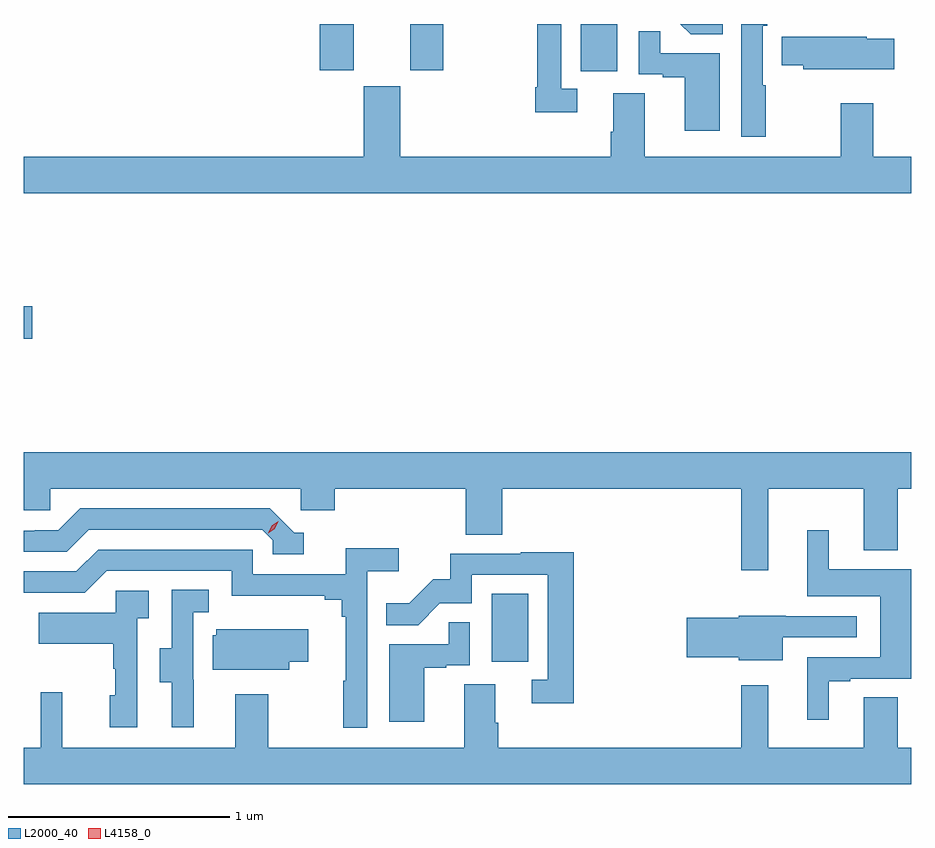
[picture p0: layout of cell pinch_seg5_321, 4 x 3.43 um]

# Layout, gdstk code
import gdstk
lib = gdstk.Library(unit=1e-6, precision=1e-09)
def R(c, l, rs):  # rectangles x0, y0, x1, y1
    for r in rs: c.add(gdstk.rectangle(r[:2], r[2:], *l))
def P(c, l, *ps):  # polygons
    for p in ps: c.add(gdstk.Polygon(p, *l))
L2000_40 = (2000, 40)
L4158_0 = (4158, 0)

pinch_seg5_321 = lib.new_cell('pinch_seg5_321')
R(pinch_seg5_321, L2000_40, [(935.924,886.614,936.088,886.921), (933.815,888.071,933.853,888.218), (936.326,889.278,936.49,889.49), (935.15,889.281,935.302,889.49), (935.558,889.281,935.706,889.49)])
P(pinch_seg5_321, L2000_40, [(936.965,889.49),(936.775,889.49),(936.821,889.444),(936.965,889.444)],
  [(936.31,889.197),(936.237,889.197),(936.237,889.49),(936.129,889.49),(936.129,889.204),(936.121,889.204),(936.121,889.092),(936.31,889.092)],
  [(937.159,889.214),(937.146,889.214),(937.146,889.481),(937.166,889.481),(937.166,889.49),(937.05,889.49),(937.05,888.981),(937.159,888.981)],
  [(936.952,889.359),(936.683,889.359),(936.683,889.457),(936.588,889.457),(936.588,889.263),(936.695,889.263),(936.695,889.251),(936.794,889.251),(936.794,889.008),(936.952,889.008)],
  [(937.739,889.423),(937.614,889.423),(937.614,889.432),(937.231,889.432),(937.231,889.303),(937.329,889.303),(937.329,889.286),(937.739,889.286)],
  [(937.815,888.892),(937.645,888.892),(937.645,889.132),(937.498,889.132),(937.498,888.892),(936.613,888.892),(936.613,889.178),(936.473,889.178),(936.473,889.004),(936.461,889.004),(936.461,888.892),(935.512,888.892),(935.512,889.209),(935.348,889.209),(935.348,888.892),(933.815,888.892),(933.815,888.728),(937.815,888.728)],
  [(937.171,887.396),(937.601,887.396),(937.601,887.117),(937.754,887.117),(937.754,887.396),(937.815,887.396),(937.815,887.56),(933.815,887.56),(933.815,887.298),(933.933,887.298),(933.933,887.396),(935.064,887.396),(935.064,887.298),(935.216,887.298),(935.216,887.396),(935.807,887.396),(935.807,887.188),(935.972,887.188),(935.972,887.396),(937.05,887.396),(937.05,887.028),(937.171,887.028)],
  [(935.077,887.196),(935.034,887.196),(934.923,887.307),(934.07,887.307),(933.971,887.208),(933.864,887.208),(933.864,887.205),(933.815,887.205),(933.815,887.112),(934.008,887.112),(934.107,887.211),(934.89,887.211),(934.938,887.163),(934.938,887.1),(935.077,887.1)],
  [(937.444,886.527),(937.54,886.527),(937.54,886.539),(937.815,886.539),(937.815,887.032),(937.444,887.032),(937.444,887.209),(937.346,887.209),(937.346,886.91),(937.676,886.91),(937.676,886.635),(937.346,886.635),(937.346,886.353),(937.444,886.353)],
  [(935.364,887.024),(935.506,887.024),(935.506,887.126),(935.267,887.126),(935.267,887.01),(934.848,887.01),(934.848,887.121),(934.151,887.121),(934.052,887.022),(933.815,887.022),(933.815,886.926),(934.089,886.926),(934.188,887.025),(934.752,887.025),(934.752,886.913),(935.171,886.913),(935.171,886.894),(935.248,886.894),(935.248,886.817),(935.267,886.817),(935.267,886.529),(935.256,886.529),(935.256,886.317),(935.364,886.317)],
  [(936.293,887.108),(936.055,887.108),(936.055,887.103),(935.737,887.103),(935.737,886.986),(935.66,886.986),(935.553,886.879),(935.449,886.879),(935.449,886.78),(935.593,886.78),(935.691,886.878),(935.835,886.878),(935.835,887.007),(936.177,887.007),(936.177,886.533),(936.105,886.533),(936.105,886.428),(936.293,886.428)],
  [(934.58,886.533),(934.578,886.533),(934.578,886.839),(934.648,886.839),(934.648,886.94),(934.482,886.94),(934.482,886.677),(934.427,886.677),(934.427,886.522),(934.481,886.522),(934.481,886.32),(934.58,886.32)],
  [(934.326,886.811),(934.378,886.811),(934.378,886.935),(934.23,886.935),(934.23,886.837),(933.883,886.837),(933.883,886.697),(934.218,886.697),(934.218,886.583),(934.228,886.583),(934.228,886.464),(934.202,886.464),(934.202,886.32),(934.326,886.32)],
  [(937.237,886.725),(937.57,886.725),(937.57,886.821),(937.25,886.821),(937.25,886.823),(937.038,886.823),(937.038,886.814),(936.804,886.814),(936.804,886.636),(937.038,886.636),(937.038,886.622),(937.237,886.622)],
  [(935.62,886.587),(935.72,886.587),(935.72,886.599),(935.826,886.599),(935.826,886.793),(935.731,886.793),(935.731,886.695),(935.462,886.695),(935.462,886.344),(935.62,886.344)],
  [(935.011,886.615),(935.098,886.615),(935.098,886.762),(934.783,886.762),(934.783,886.761),(934.683,886.761),(934.683,886.734),(934.667,886.734),(934.667,886.58),(935.011,886.58)],
  [(935.801,886.514),(935.801,886.228),(934.917,886.228),(934.917,886.468),(934.769,886.468),(934.769,886.228),(933.989,886.228),(933.989,886.477),(933.891,886.477),(933.891,886.228),(933.815,886.228),(933.815,886.064),(937.815,886.064),(937.815,886.228),(937.754,886.228),(937.754,886.454),(937.601,886.454),(937.601,886.228),(937.171,886.228),(937.171,886.51),(937.05,886.51),(937.05,886.228),(935.954,886.228),(935.954,886.34),(935.941,886.34),(935.941,886.514)])
P(pinch_seg5_321, L4158_0, [(934.916,887.195),(934.916,887.196),(934.932,887.228),(934.962,887.248),(934.963,887.248),(934.963,887.248),(934.947,887.215),(934.916,887.195)])

lib.write_gds('pinch_seg5_321.gds')
